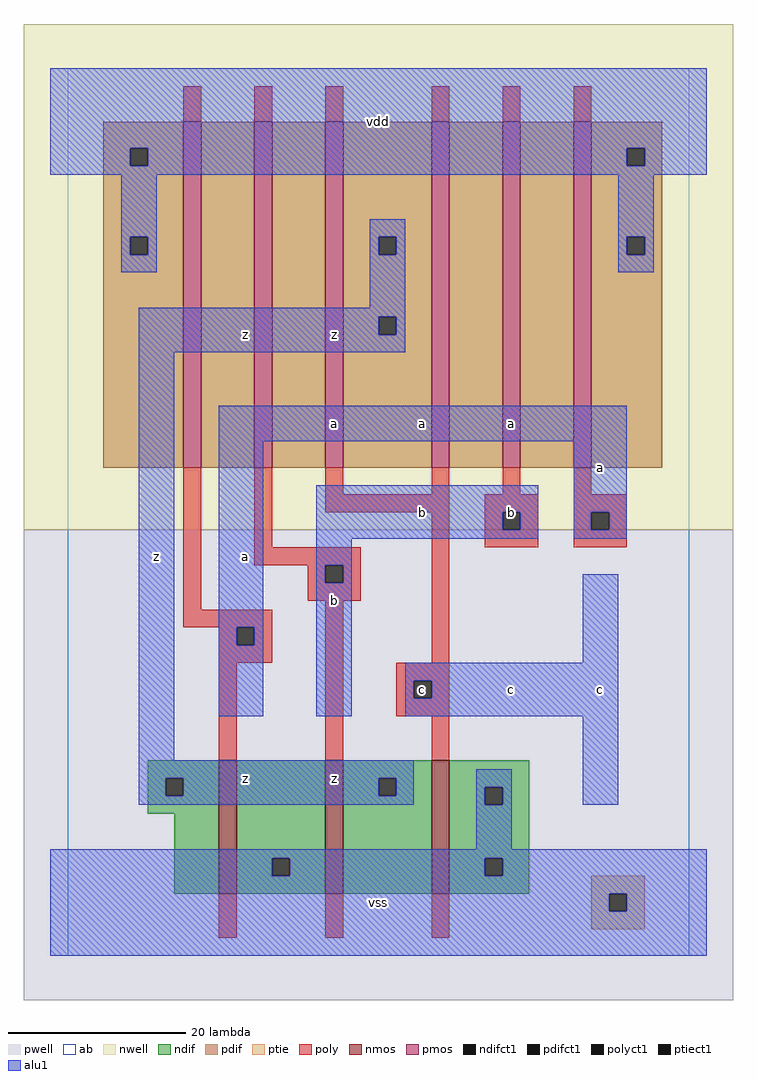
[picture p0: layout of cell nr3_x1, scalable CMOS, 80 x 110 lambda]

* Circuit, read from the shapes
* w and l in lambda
.subckt nr3_x1 a b c vdd vss z
M1 vss a z vss nfet w=15 l=2
M2 z b vss vss nfet w=15 l=2
M3 vss c z vss nfet w=15 l=2
M4 n1 a vdd n2 pfet w=39 l=2
M5 n3 b n1 n2 pfet w=39 l=2
M6 z c n3 n2 pfet w=39 l=2
M7 n4 c z n2 pfet w=39 l=2
M8 n5 b n4 n2 pfet w=39 l=2
M9 vdd a n5 n2 pfet w=39 l=2
.ends

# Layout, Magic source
magic
tech scmos
<< ab >>
rect 0 0 70 100
<< nwell >>
rect -5 48 75 105
<< pwell >>
rect -5 -5 75 48
<< poly >>
rect 13 94 15 98
rect 21 94 23 98
rect 29 94 31 98
rect 41 94 43 98
rect 49 94 51 98
rect 57 94 59 98
rect 13 39 15 55
rect 21 46 23 55
rect 29 52 31 55
rect 41 52 43 55
rect 49 52 51 55
rect 57 52 59 55
rect 29 50 43 52
rect 21 44 33 46
rect 27 42 29 44
rect 31 42 33 44
rect 27 40 33 42
rect 13 37 23 39
rect 17 35 19 37
rect 21 35 23 37
rect 17 33 23 35
rect 17 22 19 33
rect 29 22 31 40
rect 41 33 43 50
rect 47 50 53 52
rect 47 48 49 50
rect 51 48 53 50
rect 47 46 53 48
rect 57 50 63 52
rect 57 48 59 50
rect 61 48 63 50
rect 57 46 63 48
rect 37 31 43 33
rect 37 29 39 31
rect 41 29 43 31
rect 37 27 43 29
rect 41 22 43 27
rect 17 2 19 7
rect 29 2 31 7
rect 41 2 43 7
<< ndif >>
rect 9 20 17 22
rect 9 18 11 20
rect 13 18 17 20
rect 9 16 17 18
rect 12 7 17 16
rect 19 11 29 22
rect 19 9 23 11
rect 25 9 29 11
rect 19 7 29 9
rect 31 20 41 22
rect 31 18 35 20
rect 37 18 41 20
rect 31 7 41 18
rect 43 19 52 22
rect 43 17 47 19
rect 49 17 52 19
rect 43 11 52 17
rect 43 9 47 11
rect 49 9 52 11
rect 43 7 52 9
<< pdif >>
rect 4 91 13 94
rect 4 89 7 91
rect 9 89 13 91
rect 4 81 13 89
rect 4 79 7 81
rect 9 79 13 81
rect 4 55 13 79
rect 15 55 21 94
rect 23 55 29 94
rect 31 81 41 94
rect 31 79 35 81
rect 37 79 41 81
rect 31 72 41 79
rect 31 70 35 72
rect 37 70 41 72
rect 31 55 41 70
rect 43 55 49 94
rect 51 55 57 94
rect 59 91 67 94
rect 59 89 63 91
rect 65 89 67 91
rect 59 81 67 89
rect 59 79 63 81
rect 65 79 67 81
rect 59 55 67 79
<< alu1 >>
rect -2 91 72 100
rect -2 89 7 91
rect 9 89 63 91
rect 65 89 72 91
rect -2 88 72 89
rect 6 81 10 88
rect 6 79 7 81
rect 9 79 10 81
rect 6 77 10 79
rect 34 81 38 83
rect 34 79 35 81
rect 37 79 38 81
rect 34 73 38 79
rect 62 81 66 88
rect 62 79 63 81
rect 65 79 66 81
rect 62 77 66 79
rect 8 72 38 73
rect 8 70 35 72
rect 37 70 38 72
rect 8 68 38 70
rect 8 22 12 68
rect 17 58 63 62
rect 17 37 22 58
rect 17 35 19 37
rect 21 35 22 37
rect 17 27 22 35
rect 28 50 53 53
rect 28 48 49 50
rect 51 48 53 50
rect 28 47 53 48
rect 57 50 63 58
rect 57 48 59 50
rect 61 48 63 50
rect 57 47 63 48
rect 28 44 32 47
rect 28 42 29 44
rect 31 42 32 44
rect 28 27 32 42
rect 58 33 62 43
rect 38 31 62 33
rect 38 29 39 31
rect 41 29 62 31
rect 38 27 62 29
rect 8 20 39 22
rect 8 18 11 20
rect 13 18 35 20
rect 37 18 39 20
rect 8 17 39 18
rect 46 19 50 21
rect 46 17 47 19
rect 49 17 50 19
rect 58 17 62 27
rect 46 12 50 17
rect -2 11 72 12
rect -2 9 23 11
rect 25 9 47 11
rect 49 9 72 11
rect -2 7 72 9
rect -2 5 61 7
rect 63 5 72 7
rect -2 0 72 5
<< ptie >>
rect 59 7 65 9
rect 59 5 61 7
rect 63 5 65 7
rect 59 3 65 5
<< nmos >>
rect 17 7 19 22
rect 29 7 31 22
rect 41 7 43 22
<< pmos >>
rect 13 55 15 94
rect 21 55 23 94
rect 29 55 31 94
rect 41 55 43 94
rect 49 55 51 94
rect 57 55 59 94
<< polyct1 >>
rect 29 42 31 44
rect 19 35 21 37
rect 49 48 51 50
rect 59 48 61 50
rect 39 29 41 31
<< ndifct1 >>
rect 11 18 13 20
rect 23 9 25 11
rect 35 18 37 20
rect 47 17 49 19
rect 47 9 49 11
<< ptiect1 >>
rect 61 5 63 7
<< pdifct1 >>
rect 7 89 9 91
rect 7 79 9 81
rect 35 79 37 81
rect 35 70 37 72
rect 63 89 65 91
rect 63 79 65 81
<< labels >>
rlabel alu1 10 45 10 45 6 z
rlabel alu1 20 20 20 20 6 z
rlabel alu1 30 20 30 20 6 z
rlabel alu1 20 45 20 45 6 a
rlabel alu1 30 40 30 40 6 b
rlabel alu1 20 70 20 70 6 z
rlabel alu1 30 70 30 70 6 z
rlabel alu1 30 60 30 60 6 a
rlabel alu1 35 6 35 6 6 vss
rlabel alu1 50 30 50 30 6 c
rlabel polyct1 40 30 40 30 6 c
rlabel alu1 40 50 40 50 6 b
rlabel alu1 50 50 50 50 6 b
rlabel alu1 40 60 40 60 6 a
rlabel alu1 50 60 50 60 6 a
rlabel alu1 35 94 35 94 6 vdd
rlabel alu1 60 30 60 30 6 c
rlabel alu1 60 55 60 55 6 a
<< end >>
